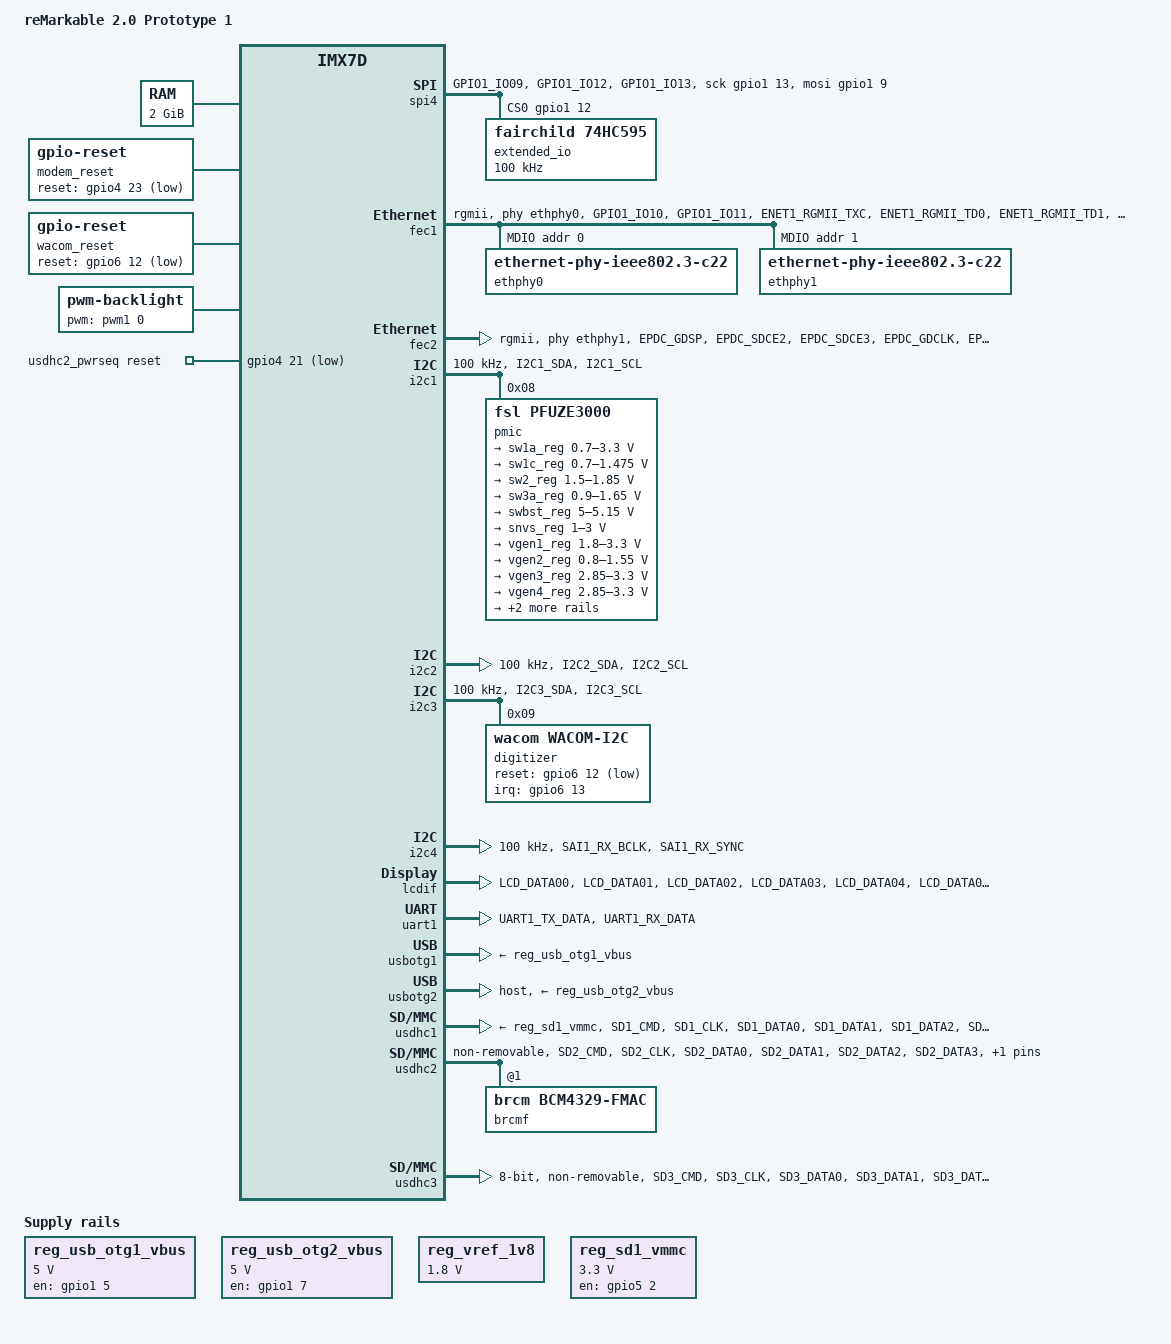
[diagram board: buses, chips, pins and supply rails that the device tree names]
/*
 * Copyright (C) 2015 Freescale Semiconductor, Inc.
 *
 * This file is dual-licensed: you can use it either under the terms
 * of the GPL or the X11 license, at your option. Note that this dual
 * licensing only applies to this file, and not this project as a
 * whole.
 *
 *  a) This file is free software; you can redistribute it and/or
 *     modify it under the terms of the GNU General Public License as
 *     published by the Free Software Foundation; either version 2 of the
 *     License, or (at your option) any later version.
 *
 *     This file is distributed in the hope that it will be useful,
 *     but WITHOUT ANY WARRANTY; without even the implied warranty of
 *     MERCHANTABILITY or FITNESS FOR A PARTICULAR PURPOSE.  See the
 *     GNU General Public License for more details.
 *
 * Or, alternatively,
 *
 *  b) Permission is hereby granted, free of charge, to any person
 *     obtaining a copy of this software and associated documentation
 *     files (the "Software"), to deal in the Software without
 *     restriction, including without limitation the rights to use,
 *     copy, modify, merge, publish, distribute, sublicense, and/or
 *     sell copies of the Software, and to permit persons to whom the
 *     Software is furnished to do so, subject to the following
 *     conditions:
 *
 *     The above copyright notice and this permission notice shall be
 *     included in all copies or substantial portions of the Software.
 *
 *     THE SOFTWARE IS PROVIDED "AS IS", WITHOUT WARRANTY OF ANY KIND,
 *     EXPRESS OR IMPLIED, INCLUDING BUT NOT LIMITED TO THE WARRANTIES
 *     OF MERCHANTABILITY, FITNESS FOR A PARTICULAR PURPOSE AND
 *     NONINFRINGEMENT. IN NO EVENT SHALL THE AUTHORS OR COPYRIGHT
 *     HOLDERS BE LIABLE FOR ANY CLAIM, DAMAGES OR OTHER LIABILITY,
 *     WHETHER IN AN ACTION OF CONTRACT, TORT OR OTHERWISE, ARISING
 *     FROM, OUT OF OR IN CONNECTION WITH THE SOFTWARE OR THE USE OR
 *     OTHER DEALINGS IN THE SOFTWARE.
 */

/dts-v1/;

#include "imx7d.dtsi"

/ {
	model = "reMarkable 2.0 Prototype 1";
	compatible = "fsl,imx7d-sdb", "fsl,imx7d";

	chosen {
		stdout-path = &uart1;
	};

	memory {
		reg = <0x80000000 0x80000000>;
	};

	modem_reset: modem-reset {
		compatible = "gpio-reset";
		reset-gpios = <&gpio4 23 GPIO_ACTIVE_LOW>;
		reset-delay-us = <1000>;
		#reset-cells = <0>;
	};

    wacom_reset: wacom-reset {
            compatible = "gpio-reset";
            reset-gpios = <&gpio6 12 1>;
            reset-delay-us = <100000>;
            #reset-cells = <0>;
    };

    spi4 {
        compatible = "spi-gpio";
        pinctrl-names = "default";
        pinctrl-0 = <&pinctrl_spi4>;
        gpio-sck = <&gpio1 13 GPIO_ACTIVE_HIGH>;
        gpio-mosi = <&gpio1 9 GPIO_ACTIVE_HIGH>;
        cs-gpios = <&gpio1 12 GPIO_ACTIVE_HIGH>;
        num-chipselects = <1>;
        #address-cells = <1>;
        #size-cells = <0>;

        extended_io: gpio-expander@0 {
               compatible = "fairchild,74hc595";
               gpio-controller;
               #gpio-cells = <2>;
               reg = <0>;
               registers-number = <1>;
               registers-default = /bits/ 8 <0x74>; /* Enable PERI_3V3, SENSOR_RST_B and HDMI_RST*/
               spi-max-frequency = <100000>;
        };
    };

	reg_usb_otg1_vbus: regulator-usb-otg1-vbus {
		compatible = "regulator-fixed";
		regulator-name = "usb_otg1_vbus";
		regulator-min-microvolt = <5000000>;
		regulator-max-microvolt = <5000000>;
		gpio = <&gpio1 5 GPIO_ACTIVE_HIGH>;
		enable-active-high;
	};

	reg_usb_otg2_vbus: regulator-usb-otg2-vbus {
		compatible = "regulator-fixed";
		regulator-name = "usb_otg2_vbus";
		regulator-min-microvolt = <5000000>;
		regulator-max-microvolt = <5000000>;
		gpio = <&gpio1 7 GPIO_ACTIVE_HIGH>;
		enable-active-high;
	};

	reg_vref_1v8: regulator-vref-1v8 {
		compatible = "regulator-fixed";
		regulator-name = "vref-1v8";
		regulator-min-microvolt = <1800000>;
		regulator-max-microvolt = <1800000>;
	};

	reg_sd1_vmmc: regulator-sd1-vmmc {
		compatible = "regulator-fixed";
		regulator-name = "VDD_SD1";
		regulator-min-microvolt = <3300000>;
		regulator-max-microvolt = <3300000>;
		gpio = <&gpio5 2 GPIO_ACTIVE_HIGH>;
		startup-delay-us = <200000>;
		off-on-delay = <20000>;
		enable-active-high;
	};

	backlight {
		compatible = "pwm-backlight";
		pwms = <&pwm1 0 5000000 0>;
		brightness-levels = <0 4 8 16 32 64 128 255>;
		default-brightness-level = <6>;
		status = "okay";
	};

	pxp_v4l2_out {
		compatible = "fsl,imx7d-pxp-v4l2", "fsl,imx6sx-pxp-v4l2", "fsl,imx6sl-pxp-v4l2";
		status = "okay";
	};

	usdhc2_pwrseq: usdhc2_pwrseq {
		compatible = "mmc-pwrseq-simple";
		pinctrl-names = "default";
		pinctrl-0 = <&pinctrl_brcm_reg>;
		reset-gpios = <&gpio4 21 GPIO_ACTIVE_LOW>;
	};
};

&cpu0 {
	arm-supply = <&sw1a_reg>;
};

&clks {
	assigned-clocks = <&clks IMX7D_PLL_AUDIO_POST_DIV>;
	assigned-clock-rates = <884736000>;
};

&fec1 {
	pinctrl-names = "default";
	pinctrl-0 = <&pinctrl_enet1>;
	assigned-clocks = <&clks IMX7D_ENET_PHY_REF_ROOT_SRC>,
			  <&clks IMX7D_ENET_AXI_ROOT_SRC>,
			  <&clks IMX7D_ENET1_TIME_ROOT_SRC>,
			  <&clks IMX7D_ENET1_TIME_ROOT_CLK>,
			  <&clks IMX7D_ENET_AXI_ROOT_CLK>;
	assigned-clock-parents = <&clks IMX7D_PLL_ENET_MAIN_25M_CLK>,
				 <&clks IMX7D_PLL_ENET_MAIN_250M_CLK>,
				 <&clks IMX7D_PLL_ENET_MAIN_100M_CLK>;
	assigned-clock-rates = <0>, <0>, <0>, <100000000>, <250000000>;
	phy-mode = "rgmii";
	phy-handle = <&ethphy0>;
	fsl,magic-packet;
	phy-reset-gpios = <&extended_io 5 GPIO_ACTIVE_LOW>;
	status = "okay";

	mdio {
		#address-cells = <1>;
		#size-cells = <0>;

		ethphy0: ethernet-phy@0 {
			compatible = "ethernet-phy-ieee802.3-c22";
			reg = <0>;
		};

		ethphy1: ethernet-phy@1 {
			compatible = "ethernet-phy-ieee802.3-c22";
			reg = <1>;
		};
	};
};

&fec2 {
	pinctrl-names = "default";
	pinctrl-0 = <&pinctrl_enet2 &pinctrl_enet2_epdc0_en>;
	pinctrl-assert-gpios = <&gpio1 4 GPIO_ACTIVE_LOW>;
	assigned-clocks = <&clks IMX7D_ENET_PHY_REF_ROOT_SRC>,
			  <&clks IMX7D_ENET_AXI_ROOT_SRC>,
			  <&clks IMX7D_ENET2_TIME_ROOT_SRC>,
			  <&clks IMX7D_ENET2_TIME_ROOT_CLK>,
			  <&clks IMX7D_ENET_AXI_ROOT_CLK>;
	assigned-clock-parents = <&clks IMX7D_PLL_ENET_MAIN_25M_CLK>,
				 <&clks IMX7D_PLL_ENET_MAIN_250M_CLK>,
				 <&clks IMX7D_PLL_ENET_MAIN_100M_CLK>;
	assigned-clock-rates = <0>, <0>, <0>, <100000000>, <250000000>;
	phy-mode = "rgmii";
	phy-handle = <&ethphy1>;
	fsl,magic-packet;
	status = "okay";
};

&i2c1 {
	clock-frequency = <100000>;
	pinctrl-names = "default";
	pinctrl-0 = <&pinctrl_i2c1>;
	status = "okay";

	pmic: pfuze3000@08 {
		compatible = "fsl,pfuze3000";
		reg = <0x08>;

		regulators {
			sw1a_reg: sw1a {
				regulator-min-microvolt = <700000>;
				regulator-max-microvolt = <3300000>;
				regulator-boot-on;
				regulator-always-on;
				regulator-ramp-delay = <6250>;
			};

			/* use sw1c_reg to align with pfuze100/pfuze200 */
			sw1c_reg: sw1b {
				regulator-min-microvolt = <700000>;
				regulator-max-microvolt = <1475000>;
				regulator-boot-on;
				regulator-always-on;
				regulator-ramp-delay = <6250>;
			};

			sw2_reg: sw2 {
				regulator-min-microvolt = <1500000>;
				regulator-max-microvolt = <1850000>;
				regulator-boot-on;
				regulator-always-on;
			};

			sw3a_reg: sw3 {
				regulator-min-microvolt = <900000>;
				regulator-max-microvolt = <1650000>;
				regulator-boot-on;
				regulator-always-on;
			};

			swbst_reg: swbst {
				regulator-min-microvolt = <5000000>;
				regulator-max-microvolt = <5150000>;
			};

			snvs_reg: vsnvs {
				regulator-min-microvolt = <1000000>;
				regulator-max-microvolt = <3000000>;
				regulator-boot-on;
				regulator-always-on;
			};

			vref_reg: vrefddr {
				regulator-boot-on;
				regulator-always-on;
			};

			vgen1_reg: vldo1 {
				regulator-min-microvolt = <1800000>;
				regulator-max-microvolt = <3300000>;
				regulator-always-on;
			};

			vgen2_reg: vldo2 {
				regulator-min-microvolt = <800000>;
				regulator-max-microvolt = <1550000>;
			};

			vgen3_reg: vccsd {
				regulator-min-microvolt = <2850000>;
				regulator-max-microvolt = <3300000>;
				regulator-always-on;
			};

			vgen4_reg: v33 {
				regulator-min-microvolt = <2850000>;
				regulator-max-microvolt = <3300000>;
				regulator-always-on;
			};

			vgen5_reg: vldo3 {
				regulator-min-microvolt = <1800000>;
				regulator-max-microvolt = <3300000>;
				regulator-always-on;
			};

			vgen6_reg: vldo4 {
				regulator-min-microvolt = <2800000>;
				regulator-max-microvolt = <2800000>;
				regulator-always-on;
			};
		};
	};
};

&i2c2 {
	clock-frequency = <100000>;
	pinctrl-names = "default";
	pinctrl-0 = <&pinctrl_i2c2>;
	status = "okay";
};

&i2c3 {
	clock-frequency = <100000>;
	pinctrl-names = "default";
	pinctrl-0 = <&pinctrl_i2c3>;
	status = "okay";

    digitizer: wacom-i2c@09 {
        pinctrl-names = "default";
        pinctrl-0 = <&pinctrl_wacom>;
        compatible = "wacom,wacom-i2c";
        reg = <0x09>;
        interrupt-parent = <&gpio6>;
        interrupts = <13 2>;
        /* resets = <&wacom_reset>;*/
        reset-gpio = <&gpio6 12 1>;
    };
};

&i2c4 {
	clock-frequency = <100000>;
	pinctrl-names = "default";
	pinctrl-0 = <&pinctrl_i2c4>;
	status = "okay";
};

&lcdif {
	pinctrl-names = "default";
	pinctrl-0 = <&pinctrl_lcdif>;
	enable-gpio = <&extended_io 7 GPIO_ACTIVE_LOW>;
	display = <&display0>;
	status = "okay";

	display0: display {
		bits-per-pixel = <24>;
		bus-width = <24>;

		display-timings {
			native-mode = <&timing0>;

			timing0: timing0 {
				clock-frequency = <40000000>;
				hactive = <334>;
				vactive = <1405>;
				hfront-porch = <1>;
				hback-porch = <1>;
				hsync-len = <1>;
				vback-porch = <1>;
				vfront-porch = <1>;
				vsync-len = <1>;
				hsync-active = <0>;
				vsync-active = <0>;
				de-active = <1>;
				pixelclk-active = <0>;
			};
		};
	};
};

&sdma {
	status = "okay";
};

&iomuxc_lpsr {
	pinctrl-names = "default";

	imx7d-sdb {
		pinctrl_usbotg2_pwr_2: usbotg2-2 {
			fsl,pins = <
				MX7D_PAD_LPSR_GPIO1_IO07__GPIO1_IO7	  0x14
			>;
		};

		pinctrl_enet2_epdc0_en: enet2_epdc0_grp {
			fsl,pins = <
				MX7D_PAD_LPSR_GPIO1_IO04__GPIO1_IO4	0x80000000
			>;
		};
	};
};

&uart1 {
	pinctrl-names = "default";
	pinctrl-0 = <&pinctrl_uart1>;
	assigned-clocks = <&clks IMX7D_UART1_ROOT_SRC>;
	assigned-clock-parents = <&clks IMX7D_OSC_24M_CLK>;
	status = "okay";
};

&usbotg1 {
	vbus-supply = <&reg_usb_otg1_vbus>;
	srp-disable;
	hnp-disable;
	adp-disable;
	status = "okay";
};

&usbotg2 {
	vbus-supply = <&reg_usb_otg2_vbus>;
	dr_mode = "host";
	status = "okay";
};

&usdhc1 {
	pinctrl-names = "default", "state_100mhz", "state_200mhz";
	pinctrl-0 = <&pinctrl_usdhc1>, <&pinctrl_usdhc1_gpio>;
	pinctrl-1 = <&pinctrl_usdhc1_100mhz>, <&pinctrl_usdhc1_gpio>;
	pinctrl-2 = <&pinctrl_usdhc1_200mhz>, <&pinctrl_usdhc1_gpio>;
	cd-gpios = <&gpio5 0 GPIO_ACTIVE_LOW>;
	wp-gpios = <&gpio5 1 GPIO_ACTIVE_HIGH>;
	wakeup-source;
	vmmc-supply = <&reg_sd1_vmmc>;
	enable-sdio-wakeup;
	keep-power-in-suspend;
	status = "okay";
};

&usdhc2 {
	#address-cells = <1>;
	#size-cells = <0>;
	pinctrl-names = "default", "state_100mhz", "state_200mhz";
	pinctrl-0 = <&pinctrl_usdhc2 &pinctrl_wifi>;
	pinctrl-1 = <&pinctrl_usdhc2_100mhz &pinctrl_wifi>;
	pinctrl-2 = <&pinctrl_usdhc2_200mhz &pinctrl_wifi>;
	wakeup-source;
	keep-power-in-suspend;
	non-removable;
	mmc-pwrseq = <&usdhc2_pwrseq>;
	fsl,tuning-step = <2>;
	pm-ignore-notify;
	cap-power-off-card;
	status = "okay";

	brcmf: bcrmf@1 {
		reg = <1>;
		compatible = "brcm,bcm4329-fmac";
	};
};

&usdhc3 {
	pinctrl-names = "default", "state_100mhz", "state_200mhz";
	pinctrl-0 = <&pinctrl_usdhc3>;
	pinctrl-1 = <&pinctrl_usdhc3_100mhz>;
	pinctrl-2 = <&pinctrl_usdhc3_200mhz>;
	assigned-clocks = <&clks IMX7D_USDHC3_ROOT_CLK>;
	assigned-clock-rates = <400000000>;
	bus-width = <8>;
	non-removable;
	status = "okay";
};

&wdog1 {
	pinctrl-names = "default";
	pinctrl-0 = <&pinctrl_wdog>;
	fsl,ext-reset-output;
};

&iomuxc {
	pinctrl-names = "default";

	imx7d-sdb {
		pinctrl_brcm_reg: brcmreggrp {
			fsl,pins = <
				MX7D_PAD_ECSPI2_MOSI__GPIO4_IO21	0x14
			>;
		};

		pinctrl_enet1: enet1grp {
			fsl,pins = <
				MX7D_PAD_GPIO1_IO10__ENET1_MDIO			0x3
				MX7D_PAD_GPIO1_IO11__ENET1_MDC			0x3
				MX7D_PAD_ENET1_RGMII_TXC__ENET1_RGMII_TXC	0x1
				MX7D_PAD_ENET1_RGMII_TD0__ENET1_RGMII_TD0	0x1
				MX7D_PAD_ENET1_RGMII_TD1__ENET1_RGMII_TD1	0x1
				MX7D_PAD_ENET1_RGMII_TD2__ENET1_RGMII_TD2	0x1
				MX7D_PAD_ENET1_RGMII_TD3__ENET1_RGMII_TD3	0x1
				MX7D_PAD_ENET1_RGMII_TX_CTL__ENET1_RGMII_TX_CTL	0x1
				MX7D_PAD_ENET1_RGMII_RXC__ENET1_RGMII_RXC	0x1
				MX7D_PAD_ENET1_RGMII_RD0__ENET1_RGMII_RD0	0x1
				MX7D_PAD_ENET1_RGMII_RD1__ENET1_RGMII_RD1	0x1
				MX7D_PAD_ENET1_RGMII_RD2__ENET1_RGMII_RD2	0x1
				MX7D_PAD_ENET1_RGMII_RD3__ENET1_RGMII_RD3	0x1
				MX7D_PAD_ENET1_RGMII_RX_CTL__ENET1_RGMII_RX_CTL	0x1
			>;
		};

		pinctrl_enet2: enet2grp {
			fsl,pins = <
				MX7D_PAD_EPDC_GDSP__ENET2_RGMII_TXC		0x1
				MX7D_PAD_EPDC_SDCE2__ENET2_RGMII_TD0		0x1
				MX7D_PAD_EPDC_SDCE3__ENET2_RGMII_TD1		0x1
				MX7D_PAD_EPDC_GDCLK__ENET2_RGMII_TD2		0x1
				MX7D_PAD_EPDC_GDOE__ENET2_RGMII_TD3		0x1
				MX7D_PAD_EPDC_GDRL__ENET2_RGMII_TX_CTL		0x1
				MX7D_PAD_EPDC_SDCE1__ENET2_RGMII_RXC		0x1
				MX7D_PAD_EPDC_SDCLK__ENET2_RGMII_RD0		0x1
				MX7D_PAD_EPDC_SDLE__ENET2_RGMII_RD1		0x1
				MX7D_PAD_EPDC_SDOE__ENET2_RGMII_RD2		0x1
				MX7D_PAD_EPDC_SDSHR__ENET2_RGMII_RD3		0x1
				MX7D_PAD_EPDC_SDCE0__ENET2_RGMII_RX_CTL		0x1
			>;
		};

        pinctrl_wacom: wacomgrp {
            fsl,pins = <
                MX7D_PAD_SAI1_RX_DATA__GPIO6_IO12          0x00000014 /* WACOM RESET */
                MX7D_PAD_SAI1_TX_BCLK__GPIO6_IO13          0x00000074 /* WACOM INT */
                MX7D_PAD_SAI2_RX_DATA__GPIO6_IO21          0x00000014 /* RSVD IN */
                MX7D_PAD_SAI2_TX_BCLK__GPIO6_IO20          0x00000014 /* RSVD OUT */
                MX7D_PAD_SAI2_TX_DATA__GPIO6_IO22          0x00000014 /* PDCTB */
                MX7D_PAD_SAI2_TX_SYNC__GPIO6_IO19          0x00000014 /* FWE */
            >;
        };

		pinctrl_i2c1: i2c1grp {
			fsl,pins = <
				MX7D_PAD_I2C1_SDA__I2C1_SDA		0x4000007f
				MX7D_PAD_I2C1_SCL__I2C1_SCL		0x4000007f
			>;
		};

		pinctrl_i2c2: i2c2grp {
			fsl,pins = <
				MX7D_PAD_I2C2_SDA__I2C2_SDA		0x4000007f
				MX7D_PAD_I2C2_SCL__I2C2_SCL		0x4000007f
			>;
		};

		pinctrl_i2c3: i2c3grp {
			fsl,pins = <
				MX7D_PAD_I2C3_SDA__I2C3_SDA		0x4000007f
				MX7D_PAD_I2C3_SCL__I2C3_SCL		0x4000007f
			>;
		};

		pinctrl_i2c4: i2c4grp {
			fsl,pins = <
				MX7D_PAD_SAI1_RX_BCLK__I2C4_SDA		0x4000007f
				MX7D_PAD_SAI1_RX_SYNC__I2C4_SCL		0x4000007f
			>;
		};

		pinctrl_lcdif: lcdifgrp {
			fsl,pins = <
				MX7D_PAD_LCD_DATA00__LCD_DATA0		0x79
				MX7D_PAD_LCD_DATA01__LCD_DATA1		0x79
				MX7D_PAD_LCD_DATA02__LCD_DATA2		0x79
				MX7D_PAD_LCD_DATA03__LCD_DATA3		0x79
				MX7D_PAD_LCD_DATA04__LCD_DATA4		0x79
				MX7D_PAD_LCD_DATA05__LCD_DATA5		0x79
				MX7D_PAD_LCD_DATA06__LCD_DATA6		0x79
				MX7D_PAD_LCD_DATA07__LCD_DATA7		0x79
				MX7D_PAD_LCD_DATA08__LCD_DATA8		0x79
				MX7D_PAD_LCD_DATA09__LCD_DATA9		0x79
				MX7D_PAD_LCD_DATA10__LCD_DATA10		0x79
				MX7D_PAD_LCD_DATA11__LCD_DATA11		0x79
				MX7D_PAD_LCD_DATA12__LCD_DATA12		0x79
				MX7D_PAD_LCD_DATA13__LCD_DATA13		0x79
				MX7D_PAD_LCD_DATA14__LCD_DATA14		0x79
				MX7D_PAD_LCD_DATA15__LCD_DATA15		0x79
				MX7D_PAD_LCD_DATA16__LCD_DATA16		0x79
				MX7D_PAD_LCD_DATA17__LCD_DATA17		0x79
				MX7D_PAD_LCD_DATA18__LCD_DATA18		0x79
				MX7D_PAD_LCD_DATA19__LCD_DATA19		0x79
				MX7D_PAD_LCD_DATA20__LCD_DATA20		0x79
				MX7D_PAD_LCD_DATA21__LCD_DATA21		0x79
				MX7D_PAD_LCD_DATA22__LCD_DATA22		0x79
				MX7D_PAD_LCD_DATA23__LCD_DATA23		0x79
				MX7D_PAD_LCD_CLK__LCD_CLK		0x79
				MX7D_PAD_LCD_ENABLE__LCD_ENABLE		0x79
				MX7D_PAD_LCD_VSYNC__LCD_VSYNC		0x79
				MX7D_PAD_LCD_HSYNC__LCD_HSYNC		0x79
				MX7D_PAD_LCD_RESET__LCD_RESET		0x79
			>;
		};

        pinctrl_spi4: spi4grp {
               fsl,pins = <
                       MX7D_PAD_GPIO1_IO09__GPIO1_IO9  0x59
                       MX7D_PAD_GPIO1_IO12__GPIO1_IO12 0x59
                       MX7D_PAD_GPIO1_IO13__GPIO1_IO13 0x59
               >;
        };

		pinctrl_uart1: uart1grp {
			fsl,pins = <
				MX7D_PAD_UART1_TX_DATA__UART1_DCE_TX	0x79
				MX7D_PAD_UART1_RX_DATA__UART1_DCE_RX	0x79
			>;
		};

		pinctrl_usdhc1_gpio: usdhc1_gpiogrp {
			fsl,pins = <
				MX7D_PAD_SD1_CD_B__GPIO5_IO0		0x59 /* CD */
				MX7D_PAD_SD1_WP__GPIO5_IO1		0x59 /* WP */
				MX7D_PAD_SD1_RESET_B__GPIO5_IO2		0x59 /* vmmc */
				MX7D_PAD_GPIO1_IO08__SD1_VSELECT	0x59 /* VSELECT */
			>;
		};

		pinctrl_usbotg2_pwr_1: usbotg2-1 {
			fsl,pins = <
				MX7D_PAD_UART3_CTS_B__GPIO4_IO7	0x14
			>;
		};

		pinctrl_usdhc1: usdhc1grp {
			fsl,pins = <
				MX7D_PAD_SD1_CMD__SD1_CMD		0x59
				MX7D_PAD_SD1_CLK__SD1_CLK		0x19
				MX7D_PAD_SD1_DATA0__SD1_DATA0		0x59
				MX7D_PAD_SD1_DATA1__SD1_DATA1		0x59
				MX7D_PAD_SD1_DATA2__SD1_DATA2		0x59
				MX7D_PAD_SD1_DATA3__SD1_DATA3		0x59

			>;
		};

		pinctrl_usdhc1_100mhz: usdhc1grp_100mhz {
			fsl,pins = <
				MX7D_PAD_SD1_CMD__SD1_CMD		0x5a
				MX7D_PAD_SD1_CLK__SD1_CLK		0x1a
				MX7D_PAD_SD1_DATA0__SD1_DATA0		0x5a
				MX7D_PAD_SD1_DATA1__SD1_DATA1		0x5a
				MX7D_PAD_SD1_DATA2__SD1_DATA2		0x5a
				MX7D_PAD_SD1_DATA3__SD1_DATA3		0x5a
			>;
		};

		pinctrl_usdhc1_200mhz: usdhc1grp_200mhz {
			fsl,pins = <
				MX7D_PAD_SD1_CMD__SD1_CMD		0x5b
				MX7D_PAD_SD1_CLK__SD1_CLK		0x1b
				MX7D_PAD_SD1_DATA0__SD1_DATA0		0x5b
				MX7D_PAD_SD1_DATA1__SD1_DATA1		0x5b
				MX7D_PAD_SD1_DATA2__SD1_DATA2		0x5b
				MX7D_PAD_SD1_DATA3__SD1_DATA3		0x5b
			>;
		};

		pinctrl_usdhc2: usdhc2grp {
			fsl,pins = <
				MX7D_PAD_SD2_CMD__SD2_CMD		0x59
				MX7D_PAD_SD2_CLK__SD2_CLK		0x19
				MX7D_PAD_SD2_DATA0__SD2_DATA0		0x59
				MX7D_PAD_SD2_DATA1__SD2_DATA1		0x59
				MX7D_PAD_SD2_DATA2__SD2_DATA2		0x59
				MX7D_PAD_SD2_DATA3__SD2_DATA3		0x59
			>;
		};

		pinctrl_usdhc2_100mhz: usdhc2grp_100mhz {
			fsl,pins = <
				MX7D_PAD_SD2_CMD__SD2_CMD		0x5a
				MX7D_PAD_SD2_CLK__SD2_CLK		0x1a
				MX7D_PAD_SD2_DATA0__SD2_DATA0		0x5a
				MX7D_PAD_SD2_DATA1__SD2_DATA1		0x5a
				MX7D_PAD_SD2_DATA2__SD2_DATA2		0x5a
				MX7D_PAD_SD2_DATA3__SD2_DATA3		0x5a
			>;
		};

		pinctrl_usdhc2_200mhz: usdhc2grp_200mhz {
			fsl,pins = <
				MX7D_PAD_SD2_CMD__SD2_CMD		0x5b
				MX7D_PAD_SD2_CLK__SD2_CLK		0x1b
				MX7D_PAD_SD2_DATA0__SD2_DATA0		0x5b
				MX7D_PAD_SD2_DATA1__SD2_DATA1		0x5b
				MX7D_PAD_SD2_DATA2__SD2_DATA2		0x5b
				MX7D_PAD_SD2_DATA3__SD2_DATA3		0x5b
			>;
		};


		pinctrl_usdhc3: usdhc3grp {
			fsl,pins = <
				MX7D_PAD_SD3_CMD__SD3_CMD		0x59
				MX7D_PAD_SD3_CLK__SD3_CLK		0x19
				MX7D_PAD_SD3_DATA0__SD3_DATA0		0x59
				MX7D_PAD_SD3_DATA1__SD3_DATA1		0x59
				MX7D_PAD_SD3_DATA2__SD3_DATA2		0x59
				MX7D_PAD_SD3_DATA3__SD3_DATA3		0x59
				MX7D_PAD_SD3_DATA4__SD3_DATA4		0x59
				MX7D_PAD_SD3_DATA5__SD3_DATA5		0x59
				MX7D_PAD_SD3_DATA6__SD3_DATA6		0x59
				MX7D_PAD_SD3_DATA7__SD3_DATA7		0x59
				MX7D_PAD_SD3_STROBE__SD3_STROBE		0x19
			>;
		};

		pinctrl_usdhc3_100mhz: usdhc3grp_100mhz {
			fsl,pins = <
				MX7D_PAD_SD3_CMD__SD3_CMD		0x5a
				MX7D_PAD_SD3_CLK__SD3_CLK		0x1a
				MX7D_PAD_SD3_DATA0__SD3_DATA0		0x5a
				MX7D_PAD_SD3_DATA1__SD3_DATA1		0x5a
				MX7D_PAD_SD3_DATA2__SD3_DATA2		0x5a
				MX7D_PAD_SD3_DATA3__SD3_DATA3		0x5a
				MX7D_PAD_SD3_DATA4__SD3_DATA4		0x5a
				MX7D_PAD_SD3_DATA5__SD3_DATA5		0x5a
				MX7D_PAD_SD3_DATA6__SD3_DATA6		0x5a
				MX7D_PAD_SD3_DATA7__SD3_DATA7		0x5a
				MX7D_PAD_SD3_STROBE__SD3_STROBE		0x1a
			>;
		};

		pinctrl_usdhc3_200mhz: usdhc3grp_200mhz {
			fsl,pins = <
				MX7D_PAD_SD3_CMD__SD3_CMD		0x5b
				MX7D_PAD_SD3_CLK__SD3_CLK		0x1b
				MX7D_PAD_SD3_DATA0__SD3_DATA0		0x5b
				MX7D_PAD_SD3_DATA1__SD3_DATA1		0x5b
				MX7D_PAD_SD3_DATA2__SD3_DATA2		0x5b
				MX7D_PAD_SD3_DATA3__SD3_DATA3		0x5b
				MX7D_PAD_SD3_DATA4__SD3_DATA4		0x5b
				MX7D_PAD_SD3_DATA5__SD3_DATA5		0x5b
				MX7D_PAD_SD3_DATA6__SD3_DATA6		0x5b
				MX7D_PAD_SD3_DATA7__SD3_DATA7		0x5b
				MX7D_PAD_SD3_STROBE__SD3_STROBE		0x1b
			>;
		};

		pinctrl_wifi: wifigrp {
			fsl,pins = <
				MX7D_PAD_ECSPI2_SCLK__GPIO4_IO20	0x19 /* WL_HOST_WAKE */
			>;
		};
	};
};

&iomuxc_lpsr {
	pinctrl_wdog: wdoggrp {
		fsl,pins = <
			MX7D_PAD_LPSR_GPIO1_IO00__WDOG1_WDOG_B		0x74
		>;
	};

	pinctrl_backlight: backlightgrp {
		fsl,pins = <
			MX7D_PAD_LPSR_GPIO1_IO01__GPIO1_IO1		0x110b0
		>;
	};
};
